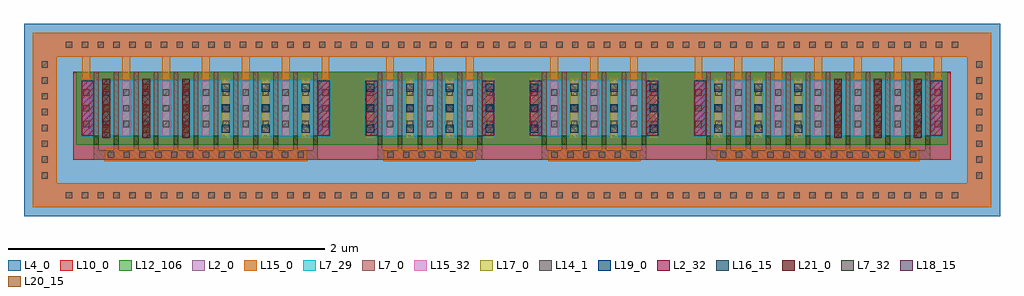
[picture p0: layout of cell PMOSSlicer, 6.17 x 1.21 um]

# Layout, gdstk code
import gdstk
lib = gdstk.Library(unit=1e-6, precision=1e-09)
def R(c, l, rs):  # rectangles x0, y0, x1, y1
    for r in rs: c.add(gdstk.rectangle(r[:2], r[2:], *l))
def A(c, l, x, y, w, h, nx, ny, dx, dy):  # array of equal rectangles
    R(c, l, [(x+i*dx, y+j*dy, x+i*dx+w, y+j*dy+h) for i in range(nx) for j in range(ny)])
def P(c, l, *ps):  # polygons
    for p in ps: c.add(gdstk.Polygon(p, *l))
L2_0 = (2, 0)
L2_32 = (2, 32)
L4_0 = (4, 0)
L7_0 = (7, 0)
L7_29 = (7, 29)
L7_32 = (7, 32)
L10_0 = (10, 0)
L12_106 = (12, 106)
L14_1 = (14, 1)
L15_0 = (15, 0)
L15_32 = (15, 32)
L16_15 = (16, 15)
L17_0 = (17, 0)
L18_15 = (18, 15)
L19_0 = (19, 0)
L20_15 = (20, 15)
L21_0 = (21, 0)

pmosslicer_pmos1 = lib.new_cell('PMOSSlicer:PMOS1')
R(pmosslicer_pmos1, L2_0, [(-0.784,-0.175,0.784,0.175)])
R(pmosslicer_pmos1, L2_32, [(-0.784,-0.175,-0.708,0.175), (0.708,-0.175,0.784,0.175)])
A(pmosslicer_pmos1, L7_0, -0.708, -0.232, 0.03, 0.464, 12, 1, 0.126, 0)
P(pmosslicer_pmos1, L7_0, [(-0.819,0),(-0.819,0),(-0.819,0),(-0.819,0)],
  [(0.819,0),(0.819,0),(0.819,0),(0.819,0)])
R(pmosslicer_pmos1, L7_29, [(-0.789,-0.18,0.789,0.18)])
A(pmosslicer_pmos1, L7_32, -0.708, -0.232, 0.03, 0.057, 12, 1, 0.126, 0)
R(pmosslicer_pmos1, L10_0, [(-0.84,-0.232,0.84,0.232)])
R(pmosslicer_pmos1, L12_106, [(-0.819,-0.231,0.819,0.231)])
A(pmosslicer_pmos1, L14_1, -0.776, -0.12, 0.04, 0.04, 13, 3, 0.126, 0.1)
A(pmosslicer_pmos1, L15_0, -0.781, -0.175, 0.05, 0.35, 13, 1, 0.126, 0)
A(pmosslicer_pmos1, L15_32, -0.781, -0.175, 0.05, 0.35, 13, 1, 0.126, 0)

pmosslicer_pmos2 = lib.new_cell('PMOSSlicer:PMOS2')
R(pmosslicer_pmos2, L2_0, [(-0.784,-0.175,0.784,0.175)])
R(pmosslicer_pmos2, L2_32, [(-0.784,-0.175,-0.708,0.175), (0.708,-0.175,0.784,0.175)])
A(pmosslicer_pmos2, L7_0, -0.708, -0.232, 0.03, 0.464, 12, 1, 0.126, 0)
P(pmosslicer_pmos2, L7_0, [(-0.819,0),(-0.819,0),(-0.819,0),(-0.819,0)],
  [(0.819,0),(0.819,0),(0.819,0),(0.819,0)])
R(pmosslicer_pmos2, L7_29, [(-0.789,-0.18,0.789,0.18)])
A(pmosslicer_pmos2, L7_32, -0.708, -0.232, 0.03, 0.057, 12, 1, 0.126, 0)
R(pmosslicer_pmos2, L10_0, [(-0.84,-0.232,0.84,0.232)])
R(pmosslicer_pmos2, L12_106, [(-0.819,-0.231,0.819,0.231)])
A(pmosslicer_pmos2, L14_1, -0.776, -0.12, 0.04, 0.04, 13, 3, 0.126, 0.1)
A(pmosslicer_pmos2, L15_0, -0.781, -0.175, 0.05, 0.35, 13, 1, 0.126, 0)
A(pmosslicer_pmos2, L15_32, -0.781, -0.175, 0.05, 0.35, 13, 1, 0.126, 0)

pmosslicer_pmos3 = lib.new_cell('PMOSSlicer:PMOS3')
R(pmosslicer_pmos3, L2_0, [(-0.406,-0.175,0.406,0.175)])
R(pmosslicer_pmos3, L2_32, [(-0.406,-0.175,-0.33,0.175), (0.33,-0.175,0.406,0.175)])
A(pmosslicer_pmos3, L7_0, -0.33, -0.232, 0.03, 0.464, 6, 1, 0.126, 0)
P(pmosslicer_pmos3, L7_0, [(-0.441,0),(-0.441,0),(-0.441,0),(-0.441,0)],
  [(0.441,0),(0.441,0),(0.441,0),(0.441,0)])
R(pmosslicer_pmos3, L7_29, [(-0.411,-0.18,0.411,0.18)])
A(pmosslicer_pmos3, L7_32, -0.33, -0.232, 0.03, 0.057, 6, 1, 0.126, 0)
R(pmosslicer_pmos3, L10_0, [(-0.462,-0.232,0.462,0.232)])
R(pmosslicer_pmos3, L12_106, [(-0.441,-0.231,0.441,0.231)])
A(pmosslicer_pmos3, L14_1, -0.398, -0.12, 0.04, 0.04, 7, 3, 0.126, 0.1)
A(pmosslicer_pmos3, L15_0, -0.403, -0.175, 0.05, 0.35, 7, 1, 0.126, 0)
A(pmosslicer_pmos3, L15_32, -0.403, -0.175, 0.05, 0.35, 7, 1, 0.126, 0)

pmosslicer_pmos4 = lib.new_cell('PMOSSlicer:PMOS4')
R(pmosslicer_pmos4, L2_0, [(-0.406,-0.175,0.406,0.175)])
R(pmosslicer_pmos4, L2_32, [(-0.406,-0.175,-0.33,0.175), (0.33,-0.175,0.406,0.175)])
A(pmosslicer_pmos4, L7_0, -0.33, -0.232, 0.03, 0.464, 6, 1, 0.126, 0)
P(pmosslicer_pmos4, L7_0, [(-0.441,0),(-0.441,0),(-0.441,0),(-0.441,0)],
  [(0.441,0),(0.441,0),(0.441,0),(0.441,0)])
R(pmosslicer_pmos4, L7_29, [(-0.411,-0.18,0.411,0.18)])
A(pmosslicer_pmos4, L7_32, -0.33, -0.232, 0.03, 0.057, 6, 1, 0.126, 0)
R(pmosslicer_pmos4, L10_0, [(-0.462,-0.232,0.462,0.232)])
R(pmosslicer_pmos4, L12_106, [(-0.441,-0.231,0.441,0.231)])
A(pmosslicer_pmos4, L14_1, -0.398, -0.12, 0.04, 0.04, 7, 3, 0.126, 0.1)
A(pmosslicer_pmos4, L15_0, -0.403, -0.175, 0.05, 0.35, 7, 1, 0.126, 0)
A(pmosslicer_pmos4, L15_32, -0.403, -0.175, 0.05, 0.35, 7, 1, 0.126, 0)

pmosslicer_viapoly2met1o = lib.new_cell('PMOSSlicer:ViaPoly2Met1OnPMOSGate1')
R(pmosslicer_viapoly2met1o, L7_0, [(-0.63,-0.03,0.63,0.03)])
A(pmosslicer_viapoly2met1o, L14_1, -0.62, -0.02, 0.04, 0.04, 13, 1, 0.1, 0)
R(pmosslicer_viapoly2met1o, L15_0, [(-0.641,-0.041,0.641,0.041)])

c_pmosslicer_viapoly2met1o = lib.new_cell('PMOSSlicer:ViaPoly2Met1OnPMOSGate2')
R(c_pmosslicer_viapoly2met1o, L7_0, [(-0.63,-0.03,0.63,0.03)])
A(c_pmosslicer_viapoly2met1o, L14_1, -0.62, -0.02, 0.04, 0.04, 13, 1, 0.1, 0)
R(c_pmosslicer_viapoly2met1o, L15_0, [(-0.641,-0.041,0.641,0.041)])

c_pmosslicer_viapoly2met1o_ = lib.new_cell('PMOSSlicer:ViaPoly2Met1OnPMOSGate3')
R(c_pmosslicer_viapoly2met1o_, L7_0, [(-0.28,-0.03,0.28,0.03)])
A(c_pmosslicer_viapoly2met1o_, L14_1, -0.27, -0.02, 0.04, 0.04, 6, 1, 0.1, 0)
R(c_pmosslicer_viapoly2met1o_, L15_0, [(-0.291,-0.041,0.291,0.041)])

c_pmosslicer_viapoly2met1o__ = lib.new_cell('PMOSSlicer:ViaPoly2Met1OnPMOSGate4')
R(c_pmosslicer_viapoly2met1o__, L7_0, [(-0.28,-0.03,0.28,0.03)])
A(c_pmosslicer_viapoly2met1o__, L14_1, -0.27, -0.02, 0.04, 0.04, 6, 1, 0.1, 0)
R(c_pmosslicer_viapoly2met1o__, L15_0, [(-0.291,-0.041,0.291,0.041)])

pmosslicer_viamet12met2o = lib.new_cell('PMOSSlicer:ViaMet12Met2OnPMOSOutput1')
R(pmosslicer_viamet12met2o, L15_0, [(-0.025,-0.187,0.025,0.187)])
A(pmosslicer_viamet12met2o, L16_15, -0.025, -0.155, 0.05, 0.05, 1, 3, 0, 0.13)
R(pmosslicer_viamet12met2o, L17_0, [(-0.025,-0.187,0.025,0.187)])

pmosslicer_viamet22met3o = lib.new_cell('PMOSSlicer:ViaMet22Met3OnPMOSOutput1')
R(pmosslicer_viamet22met3o, L17_0, [(-0.025,-0.187,0.025,0.187)])
A(pmosslicer_viamet22met3o, L18_15, -0.025, -0.155, 0.05, 0.05, 1, 3, 0, 0.13)
R(pmosslicer_viamet22met3o, L19_0, [(-0.025,-0.187,0.025,0.187)])

pmosslicer_viamet32met4o = lib.new_cell('PMOSSlicer:ViaMet32Met4OnPMOSOutput1')
R(pmosslicer_viamet32met4o, L19_0, [(-0.025,-0.187,0.025,0.187)])
A(pmosslicer_viamet32met4o, L20_15, -0.025, -0.155, 0.05, 0.05, 1, 3, 0, 0.13)
R(pmosslicer_viamet32met4o, L21_0, [(-0.025,-0.187,0.025,0.187)])

c_pmosslicer_viamet12met2o = lib.new_cell('PMOSSlicer:ViaMet12Met2OnPMOSOutput2')
R(c_pmosslicer_viamet12met2o, L15_0, [(-0.025,-0.187,0.025,0.187)])
A(c_pmosslicer_viamet12met2o, L16_15, -0.025, -0.155, 0.05, 0.05, 1, 3, 0, 0.13)
R(c_pmosslicer_viamet12met2o, L17_0, [(-0.025,-0.187,0.025,0.187)])

pmosslicer_guardring = lib.new_cell('PMOSSlicer:Guardring')
R(pmosslicer_guardring, L2_0, [(-3.029,-0.551,3.029,-0.401), (-3.029,-0.551,-2.879,0.551), (2.879,-0.551,3.029,0.551), (-3.029,0.401,3.029,0.551)])
A(pmosslicer_guardring, L14_1, -2.82, -0.496, 0.04, 0.04, 57, 2, 0.1, 0.952)
A(pmosslicer_guardring, L14_1, -2.974, -0.37, 0.04, 0.04, 1, 8, 0, 0.1)
A(pmosslicer_guardring, L14_1, 2.934, -0.37, 0.04, 0.04, 1, 8, 0, 0.1)
R(pmosslicer_guardring, L15_0, [(-3.029,-0.551,3.029,-0.401), (-3.029,-0.551,-2.879,0.551), (2.879,-0.551,3.029,0.551), (-3.029,0.401,3.029,0.551)])
pmosslicer_guardring.add(gdstk.FlexPath([(2.954,0.607),(2.954,-0.476),(-2.954,-0.476),(-2.954,0.476),(3.085,0.476)], 0.262, ends="flush", simple_path=True, layer=4, datatype=0))  # L4_0

pmosslicer = lib.new_cell('PMOSSlicer')
R(pmosslicer, L4_0, [(-3.085,-0.681,3.085,0.533)])
R(pmosslicer, L12_106, [(-1.935,-0.231,1.935,0.231)])
pmosslicer.add(gdstk.FlexPath([(-1.227,-0.294),(-2.643,-0.294)], 0.06, ends="flush", simple_path=True, layer=7, datatype=0))  # L7_0
pmosslicer.add(gdstk.FlexPath([(2.643,-0.294),(1.227,-0.294)], 0.06, ends="flush", simple_path=True, layer=7, datatype=0))  # L7_0
pmosslicer.add(gdstk.FlexPath([(-0.189,-0.294),(-0.849,-0.294)], 0.06, ends="flush", simple_path=True, layer=7, datatype=0))  # L7_0
pmosslicer.add(gdstk.FlexPath([(0.849,-0.294),(0.189,-0.294)], 0.06, ends="flush", simple_path=True, layer=7, datatype=0))  # L7_0
pmosslicer.add(gdstk.FlexPath([(-2.628,0),(-2.628,-0.294)], 0.03, ends="flush", simple_path=True, layer=7, datatype=0))  # L7_0
pmosslicer.add(gdstk.FlexPath([(-2.502,0),(-2.502,-0.294)], 0.03, ends="flush", simple_path=True, layer=7, datatype=0))  # L7_0
pmosslicer.add(gdstk.FlexPath([(-2.376,0),(-2.376,-0.294)], 0.03, ends="flush", simple_path=True, layer=7, datatype=0))  # L7_0
pmosslicer.add(gdstk.FlexPath([(-2.25,0),(-2.25,-0.294)], 0.03, ends="flush", simple_path=True, layer=7, datatype=0))  # L7_0
pmosslicer.add(gdstk.FlexPath([(-2.124,0),(-2.124,-0.294)], 0.03, ends="flush", simple_path=True, layer=7, datatype=0))  # L7_0
pmosslicer.add(gdstk.FlexPath([(-1.998,0),(-1.998,-0.294)], 0.03, ends="flush", simple_path=True, layer=7, datatype=0))  # L7_0
pmosslicer.add(gdstk.FlexPath([(-1.872,0),(-1.872,-0.294)], 0.03, ends="flush", simple_path=True, layer=7, datatype=0))  # L7_0
pmosslicer.add(gdstk.FlexPath([(-1.746,0),(-1.746,-0.294)], 0.03, ends="flush", simple_path=True, layer=7, datatype=0))  # L7_0
pmosslicer.add(gdstk.FlexPath([(-1.62,0),(-1.62,-0.294)], 0.03, ends="flush", simple_path=True, layer=7, datatype=0))  # L7_0
pmosslicer.add(gdstk.FlexPath([(-1.494,0),(-1.494,-0.294)], 0.03, ends="flush", simple_path=True, layer=7, datatype=0))  # L7_0
pmosslicer.add(gdstk.FlexPath([(-1.368,0),(-1.368,-0.294)], 0.03, ends="flush", simple_path=True, layer=7, datatype=0))  # L7_0
pmosslicer.add(gdstk.FlexPath([(-1.242,0),(-1.242,-0.294)], 0.03, ends="flush", simple_path=True, layer=7, datatype=0))  # L7_0
pmosslicer.add(gdstk.FlexPath([(1.242,0),(1.242,-0.294)], 0.03, ends="flush", simple_path=True, layer=7, datatype=0))  # L7_0
pmosslicer.add(gdstk.FlexPath([(1.368,0),(1.368,-0.294)], 0.03, ends="flush", simple_path=True, layer=7, datatype=0))  # L7_0
pmosslicer.add(gdstk.FlexPath([(1.494,0),(1.494,-0.294)], 0.03, ends="flush", simple_path=True, layer=7, datatype=0))  # L7_0
pmosslicer.add(gdstk.FlexPath([(1.62,0),(1.62,-0.294)], 0.03, ends="flush", simple_path=True, layer=7, datatype=0))  # L7_0
pmosslicer.add(gdstk.FlexPath([(1.746,0),(1.746,-0.294)], 0.03, ends="flush", simple_path=True, layer=7, datatype=0))  # L7_0
pmosslicer.add(gdstk.FlexPath([(1.872,0),(1.872,-0.294)], 0.03, ends="flush", simple_path=True, layer=7, datatype=0))  # L7_0
pmosslicer.add(gdstk.FlexPath([(1.998,0),(1.998,-0.294)], 0.03, ends="flush", simple_path=True, layer=7, datatype=0))  # L7_0
pmosslicer.add(gdstk.FlexPath([(2.124,0),(2.124,-0.294)], 0.03, ends="flush", simple_path=True, layer=7, datatype=0))  # L7_0
pmosslicer.add(gdstk.FlexPath([(2.25,0),(2.25,-0.294)], 0.03, ends="flush", simple_path=True, layer=7, datatype=0))  # L7_0
pmosslicer.add(gdstk.FlexPath([(2.376,0),(2.376,-0.294)], 0.03, ends="flush", simple_path=True, layer=7, datatype=0))  # L7_0
pmosslicer.add(gdstk.FlexPath([(2.502,0),(2.502,-0.294)], 0.03, ends="flush", simple_path=True, layer=7, datatype=0))  # L7_0
pmosslicer.add(gdstk.FlexPath([(2.628,0),(2.628,-0.294)], 0.03, ends="flush", simple_path=True, layer=7, datatype=0))  # L7_0
pmosslicer.add(gdstk.FlexPath([(-0.834,0),(-0.834,-0.294)], 0.03, ends="flush", simple_path=True, layer=7, datatype=0))  # L7_0
pmosslicer.add(gdstk.FlexPath([(-0.708,0),(-0.708,-0.294)], 0.03, ends="flush", simple_path=True, layer=7, datatype=0))  # L7_0
pmosslicer.add(gdstk.FlexPath([(-0.582,0),(-0.582,-0.294)], 0.03, ends="flush", simple_path=True, layer=7, datatype=0))  # L7_0
pmosslicer.add(gdstk.FlexPath([(-0.456,0),(-0.456,-0.294)], 0.03, ends="flush", simple_path=True, layer=7, datatype=0))  # L7_0
pmosslicer.add(gdstk.FlexPath([(-0.33,0),(-0.33,-0.294)], 0.03, ends="flush", simple_path=True, layer=7, datatype=0))  # L7_0
pmosslicer.add(gdstk.FlexPath([(-0.204,0),(-0.204,-0.294)], 0.03, ends="flush", simple_path=True, layer=7, datatype=0))  # L7_0
pmosslicer.add(gdstk.FlexPath([(0.204,0),(0.204,-0.294)], 0.03, ends="flush", simple_path=True, layer=7, datatype=0))  # L7_0
pmosslicer.add(gdstk.FlexPath([(0.33,0),(0.33,-0.294)], 0.03, ends="flush", simple_path=True, layer=7, datatype=0))  # L7_0
pmosslicer.add(gdstk.FlexPath([(0.456,0),(0.456,-0.294)], 0.03, ends="flush", simple_path=True, layer=7, datatype=0))  # L7_0
pmosslicer.add(gdstk.FlexPath([(0.582,0),(0.582,-0.294)], 0.03, ends="flush", simple_path=True, layer=7, datatype=0))  # L7_0
pmosslicer.add(gdstk.FlexPath([(0.708,0),(0.708,-0.294)], 0.03, ends="flush", simple_path=True, layer=7, datatype=0))  # L7_0
pmosslicer.add(gdstk.FlexPath([(0.834,0),(0.834,-0.294)], 0.03, ends="flush", simple_path=True, layer=7, datatype=0))  # L7_0
pmosslicer.add(gdstk.FlexPath([(0,0.232),(0,-0.324)], 5.55, ends="flush", simple_path=True, layer=10, datatype=0))  # L10_0
pmosslicer.add(gdstk.FlexPath([(-2.691,0.402),(-2.691,0.175)], 0.05, ends="flush", simple_path=True, layer=15, datatype=0))  # L15_0
pmosslicer.add(gdstk.FlexPath([(1.179,0.402),(1.179,0.175)], 0.05, ends="flush", simple_path=True, layer=15, datatype=0))  # L15_0
pmosslicer.add(gdstk.FlexPath([(-2.439,0.402),(-2.439,0.175)], 0.05, ends="flush", simple_path=True, layer=15, datatype=0))  # L15_0
pmosslicer.add(gdstk.FlexPath([(1.431,0.402),(1.431,0.175)], 0.05, ends="flush", simple_path=True, layer=15, datatype=0))  # L15_0
pmosslicer.add(gdstk.FlexPath([(-2.187,0.402),(-2.187,0.175)], 0.05, ends="flush", simple_path=True, layer=15, datatype=0))  # L15_0
pmosslicer.add(gdstk.FlexPath([(1.683,0.402),(1.683,0.175)], 0.05, ends="flush", simple_path=True, layer=15, datatype=0))  # L15_0
pmosslicer.add(gdstk.FlexPath([(-1.935,0.402),(-1.935,0.175)], 0.05, ends="flush", simple_path=True, layer=15, datatype=0))  # L15_0
pmosslicer.add(gdstk.FlexPath([(1.935,0.402),(1.935,0.175)], 0.05, ends="flush", simple_path=True, layer=15, datatype=0))  # L15_0
pmosslicer.add(gdstk.FlexPath([(-1.683,0.402),(-1.683,0.175)], 0.05, ends="flush", simple_path=True, layer=15, datatype=0))  # L15_0
pmosslicer.add(gdstk.FlexPath([(2.187,0.402),(2.187,0.175)], 0.05, ends="flush", simple_path=True, layer=15, datatype=0))  # L15_0
pmosslicer.add(gdstk.FlexPath([(-1.431,0.402),(-1.431,0.175)], 0.05, ends="flush", simple_path=True, layer=15, datatype=0))  # L15_0
pmosslicer.add(gdstk.FlexPath([(2.439,0.402),(2.439,0.175)], 0.05, ends="flush", simple_path=True, layer=15, datatype=0))  # L15_0
pmosslicer.add(gdstk.FlexPath([(-1.179,0.402),(-1.179,0.175)], 0.05, ends="flush", simple_path=True, layer=15, datatype=0))  # L15_0
pmosslicer.add(gdstk.FlexPath([(2.691,0.402),(2.691,0.175)], 0.05, ends="flush", simple_path=True, layer=15, datatype=0))  # L15_0
pmosslicer.add(gdstk.FlexPath([(-0.771,0.402),(-0.771,0.175)], 0.05, ends="flush", simple_path=True, layer=15, datatype=0))  # L15_0
pmosslicer.add(gdstk.FlexPath([(0.267,0.402),(0.267,0.175)], 0.05, ends="flush", simple_path=True, layer=15, datatype=0))  # L15_0
pmosslicer.add(gdstk.FlexPath([(-0.519,0.402),(-0.519,0.175)], 0.05, ends="flush", simple_path=True, layer=15, datatype=0))  # L15_0
pmosslicer.add(gdstk.FlexPath([(0.519,0.402),(0.519,0.175)], 0.05, ends="flush", simple_path=True, layer=15, datatype=0))  # L15_0
pmosslicer.add(gdstk.FlexPath([(-0.267,0.402),(-0.267,0.175)], 0.05, ends="flush", simple_path=True, layer=15, datatype=0))  # L15_0
pmosslicer.add(gdstk.FlexPath([(0.771,0.402),(0.771,0.175)], 0.05, ends="flush", simple_path=True, layer=15, datatype=0))  # L15_0
pmosslicer.add(gdstk.Reference(pmosslicer_pmos1, (-1.935,0)))
pmosslicer.add(gdstk.Reference(pmosslicer_pmos2, (1.935,0)))
pmosslicer.add(gdstk.Reference(pmosslicer_pmos3, (-0.519,0)))
pmosslicer.add(gdstk.Reference(pmosslicer_pmos4, (0.519,0)))
pmosslicer.add(gdstk.Reference(pmosslicer_viapoly2met1o, (-1.935,-0.294)))
pmosslicer.add(gdstk.Reference(c_pmosslicer_viapoly2met1o, (1.935,-0.294)))
pmosslicer.add(gdstk.Reference(c_pmosslicer_viapoly2met1o_, (-0.519,-0.294)))
pmosslicer.add(gdstk.Reference(c_pmosslicer_viapoly2met1o__, (0.519,-0.294)))
pmosslicer.add(gdstk.Reference(pmosslicer_viamet12met2o, (-2.565,0)))
pmosslicer.add(gdstk.Reference(pmosslicer_viamet12met2o, (-2.313,0)))
pmosslicer.add(gdstk.Reference(pmosslicer_viamet12met2o, (-2.061,0)))
pmosslicer.add(gdstk.Reference(pmosslicer_viamet12met2o, (-1.809,0)))
pmosslicer.add(gdstk.Reference(pmosslicer_viamet12met2o, (-1.557,0)))
pmosslicer.add(gdstk.Reference(pmosslicer_viamet12met2o, (-1.305,0)))
pmosslicer.add(gdstk.Reference(pmosslicer_viamet12met2o, (1.305,0)))
pmosslicer.add(gdstk.Reference(pmosslicer_viamet12met2o, (1.557,0)))
pmosslicer.add(gdstk.Reference(pmosslicer_viamet12met2o, (1.809,0)))
pmosslicer.add(gdstk.Reference(pmosslicer_viamet12met2o, (2.061,0)))
pmosslicer.add(gdstk.Reference(pmosslicer_viamet12met2o, (2.313,0)))
pmosslicer.add(gdstk.Reference(pmosslicer_viamet12met2o, (2.565,0)))
pmosslicer.add(gdstk.Reference(pmosslicer_viamet22met3o, (-2.565,0)))
pmosslicer.add(gdstk.Reference(pmosslicer_viamet22met3o, (-2.313,0)))
pmosslicer.add(gdstk.Reference(pmosslicer_viamet22met3o, (-2.061,0)))
pmosslicer.add(gdstk.Reference(pmosslicer_viamet22met3o, (2.565,0)))
pmosslicer.add(gdstk.Reference(pmosslicer_viamet22met3o, (2.313,0)))
pmosslicer.add(gdstk.Reference(pmosslicer_viamet22met3o, (2.061,0)))
pmosslicer.add(gdstk.Reference(pmosslicer_viamet32met4o, (-2.565,0)))
pmosslicer.add(gdstk.Reference(pmosslicer_viamet32met4o, (-2.313,0)))
pmosslicer.add(gdstk.Reference(pmosslicer_viamet32met4o, (-2.061,0)))
pmosslicer.add(gdstk.Reference(pmosslicer_viamet32met4o, (2.565,0)))
pmosslicer.add(gdstk.Reference(pmosslicer_viamet32met4o, (2.313,0)))
pmosslicer.add(gdstk.Reference(pmosslicer_viamet32met4o, (2.061,0)))
pmosslicer.add(gdstk.Reference(c_pmosslicer_viamet12met2o, (-0.897,0)))
pmosslicer.add(gdstk.Reference(c_pmosslicer_viamet12met2o, (-0.645,0)))
pmosslicer.add(gdstk.Reference(c_pmosslicer_viamet12met2o, (-0.393,0)))
pmosslicer.add(gdstk.Reference(c_pmosslicer_viamet12met2o, (-0.141,0)))
pmosslicer.add(gdstk.Reference(c_pmosslicer_viamet12met2o, (0.141,0)))
pmosslicer.add(gdstk.Reference(c_pmosslicer_viamet12met2o, (0.393,0)))
pmosslicer.add(gdstk.Reference(c_pmosslicer_viamet12met2o, (0.645,0)))
pmosslicer.add(gdstk.Reference(c_pmosslicer_viamet12met2o, (0.897,0)))
pmosslicer.add(gdstk.Reference(pmosslicer_guardring, (0,-0.074)))

lib.write_gds('PMOSSlicer.gds')
